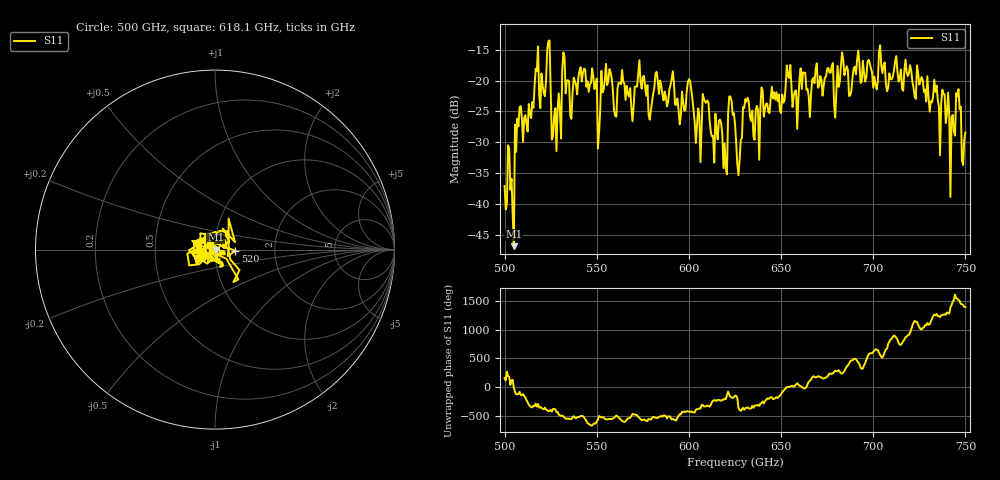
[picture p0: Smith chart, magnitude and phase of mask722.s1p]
!Created with skrf (http://scikit-rf.org).
# GHz S MA R 50.0
!freq magS11 angS11
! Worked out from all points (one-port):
!   401 points, 500 GHz to 750 GHz, reference 50 ohm
!   lowest |S11| = -46.8 dB at 505 GHz (marker M1), VSWR 1.01, Z = 50.4 - j0.115 ohm
!   |S11| at or under -10 dB: start of sweep to end of sweep
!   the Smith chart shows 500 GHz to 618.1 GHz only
!   S11 on the Smith chart (normalised r, x): 500 GHz: 0.97, +0.01; 520 GHz: 1.26, -0.02; 618.1 GHz: 0.95, +0.05
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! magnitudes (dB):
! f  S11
! 500 GHz  -37.1
! 505 GHz  -46.8
! 508.1 GHz  -24.3
! 520 GHz  -18.9
! 523.8 GHz  -13.6
! 526.9 GHz  -25.8
! 531.2 GHz  -18.4
! 542.5 GHz  -18.7
! 551.9 GHz  -24.9
! 553.8 GHz  -21.4
! 562.5 GHz  -20.4
! 593.8 GHz  -22.9
! 600 GHz  -19.8
! 605 GHz  -24.5
! 608.8 GHz  -23.4
! 618.1 GHz  -28.8
! 620 GHz  -34.1
! 622.5 GHz  -22.6
! 625 GHz  -27.0
! 627.5 GHz  -32.9
! 630.6 GHz  -23.0
! 636.9 GHz  -24.1
! 656.2 GHz  -24.3
! 687.5 GHz  -22.4
! 718.8 GHz  -19.3
! 743.1 GHz  -25.6
! 746.2 GHz  -21.4
! 750 GHz  -28.4
